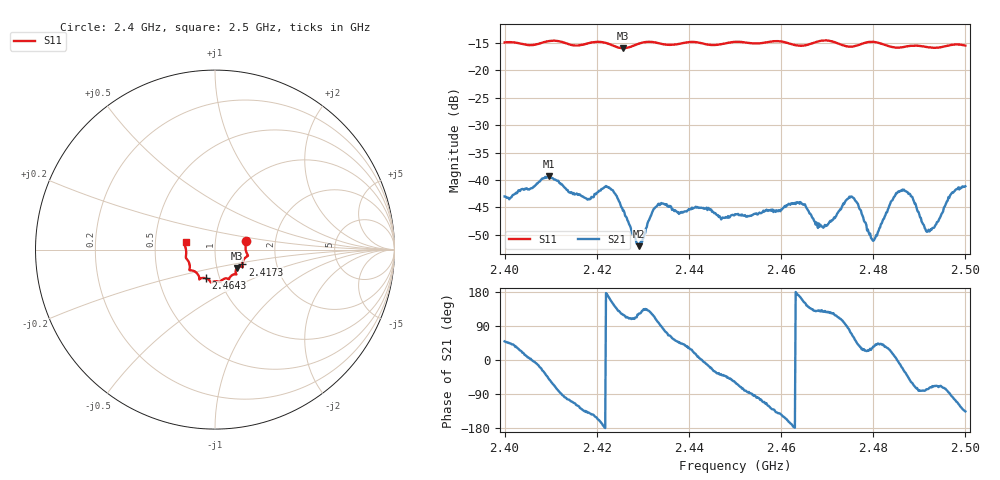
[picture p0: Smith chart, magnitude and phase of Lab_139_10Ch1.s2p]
# Hz S RI R 50
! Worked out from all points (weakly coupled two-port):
!   601 points, 2.4 GHz to 2.5 GHz, reference 50 ohm
!   highest |S21| = -39.35 dB at 2.4097 GHz (marker M1); lowest = -52.1 dB at 2.4292 GHz (marker M2)
!   lowest |S11| = -15.9 dB at 2.4257 GHz (marker M3), VSWR 1.38, Z = 62.5 - j13.1 ohm
!   |S11| at or under -10 dB: start of sweep to end of sweep
!   S12 and S22 are empty: the file has one direction only
!   S11 on the Smith chart (normalised r, x): 2.4 GHz: 1.41, +0.14; 2.4173 GHz: 1.34, -0.23; 2.4643 GHz: 0.86, -0.28; 2.5 GHz: 0.72, +0.06
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2.4e9  0.1735 0.0491  0.00462 0.00535  0 0  0 0
2.409667e9  0.1829 -0.031  0.00676 -0.00839  0 0  0 0
2.416667e9  0.1533 -0.0751  -0.00453 -0.00555  0 0  0 0
2.417333e9  0.1525 -0.0825  -0.0049 -0.00485  0 0  0 0
2.422333e9  0.1493 -0.0944  -0.00855 0.00133  0 0  0 0
2.425667e9  0.1226 -0.102  -0.00257 0.00458  0 0  0 0
2.429167e9  0.116 -0.1322  -0.00133 0.0021  0 0  0 0
2.433333e9  0.113 -0.1371  -0.00102 0.00596  0 0  0 0
2.447333e9  0.0382 -0.1704  0.00344 -0.00296  0 0  0 0
2.45e9  0.0292 -0.1804  0.00251 -0.00417  0 0  0 0
2.464333e9  -0.0501 -0.1604  -0.00593 0.00179  0 0  0 0
2.466667e9  -0.0759 -0.1592  -0.00321 0.00332  0 0  0 0
2.469667e9  -0.0879 -0.166  -0.00226 0.00304  0 0  0 0
2.475333e9  -0.1089 -0.124  0.00261 0.00656  0 0  0 0
2.48e9  -0.143 -0.1136  0.00227 0.00161  0 0  0 0
2.483333e9  -0.1405 -0.09  0.00486 0.00272  0 0  0 0
2.485e9  -0.1447 -0.0721  0.00758 0.000525  0 0  0 0
2.487e9  -0.1551 -0.0563  0.00657 -0.00437  0 0  0 0
2.492e9  -0.1607 -0.0254  0.000851 -0.00341  0 0  0 0
2.493667e9  -0.161 -0.00585  0.00148 -0.00365  0 0  0 0
2.496833e9  -0.1689 0.0251  -0.000325 -0.00737  0 0  0 0
2.5e9  -0.1634 0.0414  -0.00627 -0.00612  0 0  0 0
